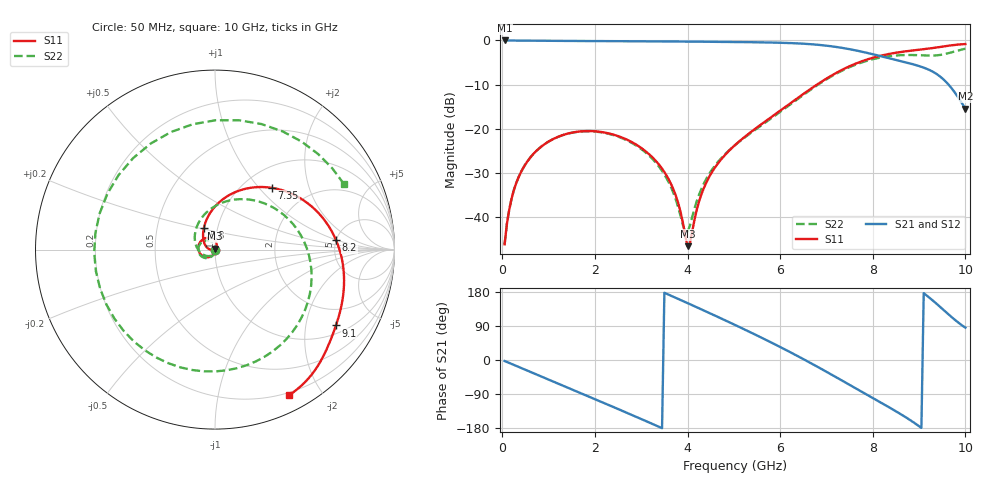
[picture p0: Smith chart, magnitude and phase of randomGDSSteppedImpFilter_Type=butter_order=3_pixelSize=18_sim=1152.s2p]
! freq	dB(S11)	phase(S11)	dB(S12)	phase(S12)
!  dB(S21)	phase(S21)	dB(S22)	phase(S22)
!S-par simulation data
#  GHz  S  DB  R 50
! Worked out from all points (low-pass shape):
!   200 points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, 50 MHz to 10 GHz, reference 50 ohm
!   highest |S21| = -0.01 dB at 50 MHz (marker M1); lowest = -15.5 dB at 10 GHz (marker M2)
!   |S21| within 3 dB of the highest: start of sweep to 7.954 GHz
!   lowest |S11| = -46.6 dB at 4 GHz (marker M3), VSWR 1.01, Z = 49.8 + j0.437 ohm
!   |S11| at or under -10 dB: start of sweep to 6.796 GHz
!   |S22| runs from -46.1 to -1.9 dB; largest |S21 - S12| = 0
!   S11 on the Smith chart (normalised r, x): 50 MHz: 1.00, -0.01; 5.8 GHz: 0.86, +0.21; 7.35 GHz: 1.34, +1.18; 8.2 GHz: 4.99, +0.96; 9.1 GHz: 1.29, -2.97; 10 GHz: 0.17, -1.62
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0.05  -46.13 -84.8  -0.01 -2.6  -0.01 -2.6  -46.13 -84.1
0.25  -33.88 -101.8  -0.03 -13.0  -0.03 -13.0  -33.87 -100.1
0.55  -27.26 -120.1  -0.05 -28.4  -0.05 -28.4  -27.25 -116.4
1.75  -20.54 171.9  -0.14 -90.3  -0.14 -90.3  -20.59 -175.5
2.5  -21.65 129.2  -0.18 -129.3  -0.18 -129.3  -21.78 148.2
3.4  -28.33 78.5  -0.22 -177.2  -0.22 -177.2  -28.79 100.3
3.75  -35.23 64.9  -0.25 163.9  -0.25 163.9  -36.13 69.3
4  -46.56 111.1  -0.26 150.2  -0.26 150.2  -43.39 -20.1
4.4  -32.28 -179.9  -0.30 128.0  -0.30 128.0  -31.43 -104.9
5.05  -23.45 150.4  -0.36 91.1  -0.36 91.1  -23.48 -152.1
5.8  -17.41 117.5  -0.48 46.7  -0.48 46.7  -17.69 149.8
6.7  -10.67 79.4  -0.89 -10.8  -0.89 -10.8  -10.86 73.1
7.35  -6.59 47.3  -1.71 -55.2  -1.71 -55.2  -6.77 17.8
7.8  -4.59 24.1  -2.64 -86.4  -2.64 -86.4  -4.86 -20.5
8.2  -3.39 4.4  -3.63 -114.1  -3.63 -114.1  -3.81 -55.7
8.35  -3.06 -2.5  -4.02 -124.6  -4.02 -124.6  -3.57 -69.7
8.75  -2.42 -19.3  -5.07 -154.0  -5.07 -154.0  -3.30 -112.1
9.1  -1.99 -32.1  -6.16 176.3  -6.16 176.3  -3.40 -161.3
9.35  -1.65 -40.3  -7.41 151.4  -7.41 151.4  -3.41 152.5
9.6  -1.25 -48.7  -9.59 124.3  -9.59 124.3  -2.98 100.0
9.8  -0.99 -55.8  -12.20 103.4  -12.20 103.4  -2.40 60.3
10  -0.82 -63.0  -15.48 85.4  -15.48 85.4  -1.88 27.1
